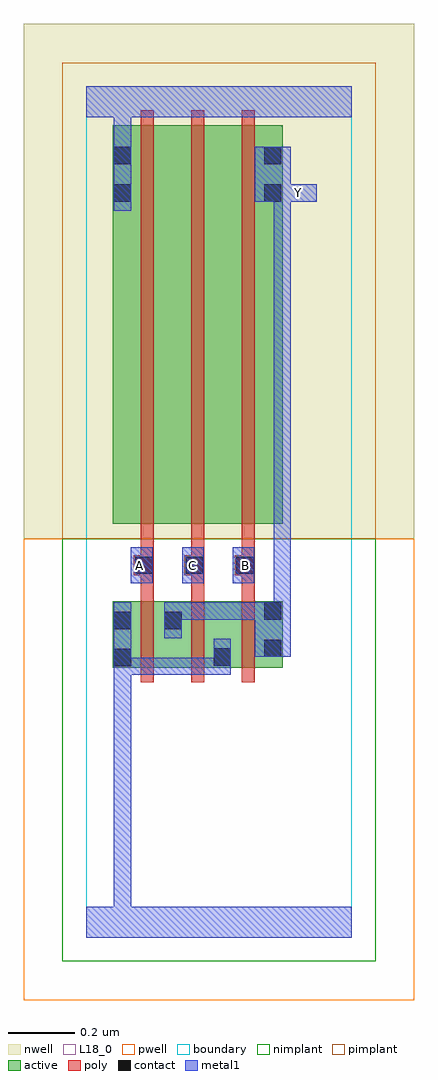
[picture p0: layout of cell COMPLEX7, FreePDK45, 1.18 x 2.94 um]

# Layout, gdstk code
import gdstk
lib = gdstk.Library(unit=1e-6, precision=1e-09)
def R(c, l, rs):  # rectangles x0, y0, x1, y1
    for r in rs: c.add(gdstk.rectangle(r[:2], r[2:], *l))
def A(c, l, x, y, w, h, nx, ny, dx, dy):  # array of equal rectangles
    R(c, l, [(x+i*dx, y+j*dy, x+i*dx+w, y+j*dy+h) for i in range(nx) for j in range(ny)])
active = (1, 0)
pwell = (2, 0)
nwell = (3, 0)
nimplant = (4, 0)
pimplant = (5, 0)
poly = (9, 0)
contact = (10, 0)
metal1 = (11, 0)
L18_0 = (18, 0)
boundary = (235, 0)

complex7 = lib.new_cell('COMPLEX7')
R(complex7, active, [(0.08,0.812,0.14,1.012), (0.08,0.812,0.292,1.012), (0.232,0.812,0.44,1.012), (0.38,0.812,0.592,1.012), (0.532,0.812,0.592,1.012), (0.38,0.814,0.44,1.012), (0.232,0.924,0.292,0.984), (0.08,1.244,0.26,2.444), (0.08,1.244,0.14,2.444), (0.26,1.244,0.412,2.444), (0.412,1.244,0.592,2.444), (0.532,1.244,0.592,2.4)])
R(complex7, pwell, [(-0.188,-0.188,0.988,1.2)])
R(complex7, nwell, [(-0.188,1.2,0.988,2.748)])
R(complex7, nimplant, [(-0.072,-0.072,0.872,1.2)])
R(complex7, pimplant, [(-0.072,1.2,0.872,2.632)])
A(complex7, poly, 0.164, 0.768, 0.04, 0.288, 3, 1, 0.152, 0)
A(complex7, poly, 0.164, 1.016, 0.04, 0.114, 3, 1, 0.152, 0)
A(complex7, poly, 0.144, 1.09, 0.06, 0.06, 3, 1, 0.152, 0)
A(complex7, poly, 0.164, 1.11, 0.04, 0.13, 3, 1, 0.152, 0)
A(complex7, poly, 0.164, 1.2, 0.04, 1.288, 3, 1, 0.152, 0)
R(complex7, poly, [(0.164,1.11,0.204,1.15), (0.164,1.11,0.204,1.15), (0.316,1.11,0.356,1.15), (0.316,1.11,0.356,1.15), (0.468,1.11,0.508,1.15), (0.468,1.11,0.508,1.15)])
A(complex7, contact, 0.148, 1.094, 0.052, 0.052, 3, 1, 0.152, 0)
R(complex7, contact, [(0.084,0.816,0.136,0.868), (0.384,0.818,0.436,0.87), (0.536,0.844,0.588,0.896), (0.084,0.928,0.136,0.98), (0.236,0.928,0.288,0.98), (0.536,0.956,0.588,1.008), (0.084,2.214,0.136,2.266), (0.536,2.214,0.588,2.266), (0.084,2.326,0.136,2.378), (0.536,2.326,0.588,2.378)])
R(complex7, metal1, [(0,0,0.8,0.092), (0.084,0.04,0.136,0.092), (0.084,0.04,0.136,0.092), (0.084,0.04,0.136,0.092), (0.084,0.04,0.136,0.092), (0.084,0.04,0.136,0.092), (0.084,0.04,0.136,0.092), (0.084,0.04,0.136,0.092), (0.084,0.04,0.136,0.092), (0.084,0.04,0.136,0.092), (0.084,0.04,0.136,0.092), (0.084,0.04,0.136,0.092), (0.084,0.04,0.136,0.092), (0.084,0.04,0.136,0.092), (0.084,0.04,0.136,0.092), (0.084,0.04,0.136,0.092), (0.084,0.04,0.136,0.092), (0.084,0.04,0.136,0.84), (0.084,0.788,0.136,1.008), (0.084,0.79,0.136,0.842), (0.084,0.79,0.136,0.842), (0.084,0.79,0.326,0.842), (0.274,0.79,0.326,0.842), (0.274,0.79,0.326,0.842), (0.274,0.79,0.326,0.842), (0.274,0.79,0.436,0.842), (0.384,0.79,0.436,0.898), (0.508,0.844,0.616,1.008), (0.236,0.9,0.288,1.008), (0.236,0.956,0.288,1.008), (0.236,0.956,0.288,1.008), (0.236,0.956,0.45,1.008), (0.398,0.956,0.45,1.008), (0.398,0.956,0.45,1.008), (0.398,0.956,0.45,1.008), (0.398,0.956,0.56,1.008), (0.564,0.956,0.616,2.266), (0.134,1.066,0.2,1.174), (0.29,1.066,0.354,1.174), (0.442,1.066,0.506,1.174), (0.084,2.186,0.136,2.406), (0.508,2.214,0.616,2.378), (0.564,2.214,0.616,2.266), (0.564,2.214,0.616,2.266), (0.564,2.214,0.616,2.266), (0.564,2.214,0.694,2.266), (0.084,2.354,0.136,2.52), (0,2.468,0.8,2.56)])
A(complex7, L18_0, 0.134, 1.094, 0.052, 0.052, 3, 1, 0.16, 0)
R(complex7, L18_0, [(0,0,0.8,0.092), (0.084,0.04,0.136,0.092), (0.084,0.04,0.136,0.092), (0.084,0.04,0.136,0.092), (0.084,0.04,0.136,0.092), (0.084,0.04,0.136,0.092), (0.084,0.04,0.136,0.092), (0.084,0.04,0.136,0.092), (0.084,0.04,0.136,0.092), (0.084,0.04,0.136,0.092), (0.084,0.04,0.136,0.092), (0.084,0.04,0.136,0.092), (0.084,0.04,0.136,0.092), (0.084,0.04,0.136,0.092), (0.084,0.04,0.136,0.092), (0.084,0.04,0.136,0.092), (0.084,0.04,0.136,0.092), (0.084,0.04,0.136,0.84), (0.084,0.788,0.136,1.008), (0.084,0.79,0.136,0.842), (0.084,0.79,0.136,0.842), (0.084,0.79,0.326,0.842), (0.274,0.79,0.326,0.842), (0.274,0.79,0.326,0.842), (0.274,0.79,0.326,0.842), (0.274,0.79,0.436,0.842), (0.384,0.79,0.436,0.898), (0.508,0.844,0.616,1.008), (0.236,0.9,0.288,1.008), (0.236,0.956,0.288,1.008), (0.236,0.956,0.288,1.008), (0.236,0.956,0.45,1.008), (0.398,0.956,0.45,1.008), (0.398,0.956,0.45,1.008), (0.398,0.956,0.45,1.008), (0.398,0.956,0.56,1.008), (0.564,0.956,0.616,2.266), (0.134,1.066,0.2,1.174), (0.29,1.066,0.354,1.174), (0.442,1.066,0.506,1.174), (0.084,2.186,0.136,2.406), (0.508,2.214,0.616,2.378), (0.564,2.214,0.616,2.266), (0.564,2.214,0.616,2.266), (0.564,2.214,0.616,2.266), (0.564,2.214,0.694,2.266), (0.614,2.214,0.666,2.266), (0.084,2.354,0.136,2.52), (0,2.468,0.8,2.56)])
R(complex7, boundary, [(0,0,0.8,2.56)])
complex7.add(gdstk.Label('A', (0.16,1.12), layer=11, texttype=0))
complex7.add(gdstk.Label('B', (0.48,1.12), layer=11, texttype=0))
complex7.add(gdstk.Label('C', (0.32,1.12), layer=11, texttype=0))
complex7.add(gdstk.Label('Y', (0.64,2.24), layer=11, texttype=0))

lib.write_gds('COMPLEX7.gds')
